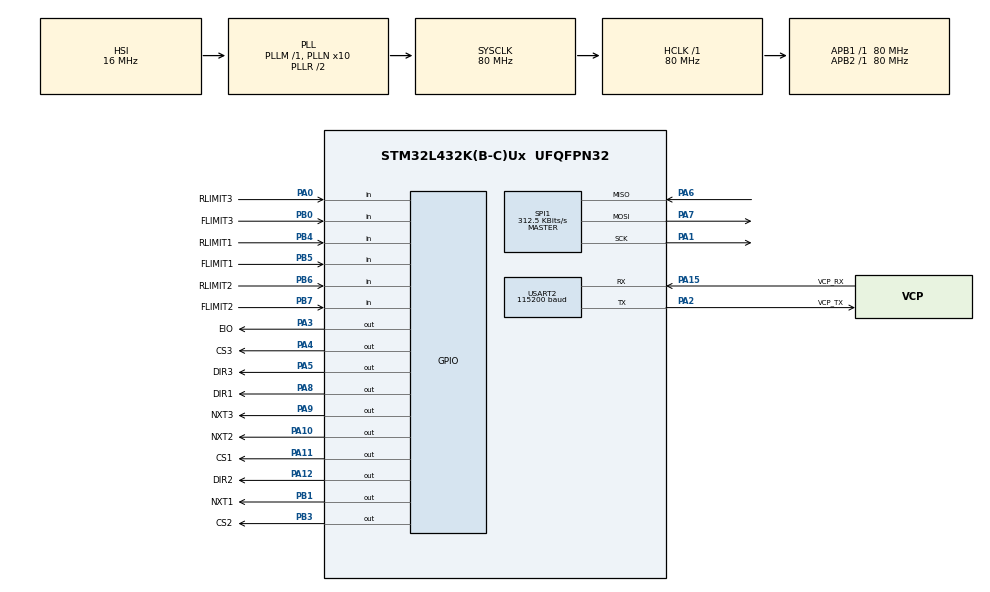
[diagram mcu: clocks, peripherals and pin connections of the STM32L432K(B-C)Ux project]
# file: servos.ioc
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Dma.Request0=USART2_RX
Dma.Request1=USART2_TX
Dma.USART2_RX.0.Direction=DMA_PERIPH_TO_MEMORY
Dma.USART2_RX.0.Instance=DMA1_Channel6
Dma.USART2_RX.0.MemDataAlignment=DMA_MDATAALIGN_BYTE
Dma.USART2_RX.0.MemInc=DMA_MINC_ENABLE
Dma.USART2_RX.0.Mode=DMA_CIRCULAR
Dma.USART2_RX.0.PeriphDataAlignment=DMA_PDATAALIGN_BYTE
Dma.USART2_RX.0.PeriphInc=DMA_PINC_DISABLE
Dma.USART2_RX.0.Priority=DMA_PRIORITY_MEDIUM
Dma.USART2_TX.1.Direction=DMA_MEMORY_TO_PERIPH
Dma.USART2_TX.1.Instance=DMA1_Channel7
Dma.USART2_TX.1.MemDataAlignment=DMA_MDATAALIGN_BYTE
Dma.USART2_TX.1.MemInc=DMA_MINC_ENABLE
Dma.USART2_TX.1.Mode=DMA_NORMAL
Dma.USART2_TX.1.PeriphDataAlignment=DMA_PDATAALIGN_BYTE
Dma.USART2_TX.1.PeriphInc=DMA_PINC_DISABLE
Dma.USART2_TX.1.Priority=DMA_PRIORITY_LOW
Mcu.Family=STM32L4
Mcu.Name=STM32L432K(B-C)Ux
Mcu.Package=UFQFPN32
NVIC.DMA1_Channel6_IRQn=true\:0\:0\:false\:false\:true\:false\:true
NVIC.DMA1_Channel7_IRQn=true\:0\:0\:false\:false\:true\:false\:true
NVIC.PriorityGroup=NVIC_PRIORITYGROUP_3
NVIC.TIM1_UP_TIM16_IRQn=true\:1\:0\:true\:false\:true\:true\:true
NVIC.TIM2_IRQn=true\:5\:0\:true\:false\:true\:true\:true
NVIC.TIM6_DAC_IRQn=true\:2\:0\:true\:false\:true\:true\:true
NVIC.TIM7_IRQn=true\:5\:0\:true\:false\:true\:true\:true
NVIC.USART2_IRQn=true\:3\:0\:true\:false\:true\:true\:true
PA0.GPIO_Label=RLIMIT3
PA0.GPIO_PuPd=GPIO_NOPULL
PA0.Signal=GPIO_Input
PA1.Mode=Full_Duplex_Master
PA1.Signal=SPI1_SCK
PA10.GPIO_Label=NXT2
PA10.GPIO_Speed=GPIO_SPEED_FREQ_LOW
PA10.Signal=GPIO_Output
PA11.GPIO_Label=CS1
PA11.PinState=GPIO_PIN_SET
PA11.Signal=GPIO_Output
PA12.GPIO_Label=DIR2
PA12.Signal=GPIO_Output
PA13\ (JTMS-SWDIO).Mode=Serial_Wire
PA13\ (JTMS-SWDIO).Signal=SYS_JTMS-SWDIO
PA14\ (JTCK-SWCLK).Mode=Serial_Wire
PA14\ (JTCK-SWCLK).Signal=SYS_JTCK-SWCLK
PA15\ (JTDI).GPIO_Label=VCP_RX
PA15\ (JTDI).Mode=Asynchronous
PA15\ (JTDI).Signal=USART2_RX
PA2.GPIO_Label=VCP_TX
PA2.Mode=Asynchronous
PA2.Signal=USART2_TX
PA3.GPIO_Label=EIO
PA3.Signal=GPIO_Output
PA4.GPIO_Label=CS3
PA4.PinState=GPIO_PIN_SET
PA4.Signal=GPIO_Output
PA5.GPIO_Label=DIR3
PA5.Signal=GPIO_Output
PA6.Mode=Full_Duplex_Master
PA6.Signal=SPI1_MISO
PA7.Mode=Full_Duplex_Master
PA7.Signal=SPI1_MOSI
PA8.GPIO_Label=DIR1
PA8.Signal=GPIO_Output
PA9.GPIO_Label=NXT3
PA9.GPIO_Speed=GPIO_SPEED_FREQ_LOW
PA9.Signal=GPIO_Output
PB0.GPIO_Label=FLIMIT3
PB0.Signal=GPIO_Input
PB1.GPIO_Label=NXT1
PB1.GPIO_Speed=GPIO_SPEED_FREQ_LOW
PB1.Signal=GPIO_Output
PB3\ (JTDO-TRACESWO).GPIO_Label=CS2
PB3\ (JTDO-TRACESWO).Signal=GPIO_Output
PB4\ (NJTRST).GPIO_Label=RLIMIT1
PB4\ (NJTRST).GPIO_PuPd=GPIO_NOPULL
PB4\ (NJTRST).Signal=GPIO_Input
PB5.GPIO_Label=FLIMIT1
PB5.GPIO_PuPd=GPIO_NOPULL
PB5.Signal=GPIO_Input
PB6.GPIO_Label=RLIMIT2
PB6.GPIO_PuPd=GPIO_NOPULL
PB6.Signal=GPIO_Input
PB7.GPIO_Label=FLIMIT2
PB7.GPIO_PuPd=GPIO_NOPULL
PB7.Signal=GPIO_Input
PC14-OSC32_IN\ (PC14).Signal=RCC_OSC32_IN
PC15-OSC32_OUT\ (PC15).Signal=RCC_OSC32_OUT
ProjectManager.HeapSize=0x200
ProjectManager.StackSize=0x400
ProjectManager.TargetToolchain=Makefile
RCC.ADCFreq_Value=64000000
RCC.AHBFreq_Value=80000000
RCC.APB1Freq_Value=80000000
RCC.APB1TimFreq_Value=80000000
RCC.APB2Freq_Value=80000000
RCC.APB2TimFreq_Value=80000000
RCC.CortexFreq_Value=80000000
RCC.HCLKFreq_Value=80000000
RCC.HSE_VALUE=8000000
RCC.HSI16_VALUE=16000000
RCC.HSI48_VALUE=48000000
RCC.HSI_VALUE=16000000
RCC.LSE_VALUE=32768
RCC.MSI_VALUE=4000000
RCC.PLLMUL=RCC_PLLMUL_4
RCC.PLLN=10
RCC.PLLSourceVirtual=RCC_PLLSOURCE_HSI
RCC.SYSCLKFreq_VALUE=80000000
RCC.SYSCLKSource=RCC_SYSCLKSOURCE_PLLCLK
RCC.USBFreq_Value=64000000
RCC.VCOOutputFreq_Value=160000000
SPI1.BaudRatePrescaler=SPI_BAUDRATEPRESCALER_256
SPI1.CalculateBaudRate=312.5 KBits/s
SPI1.DataSize=SPI_DATASIZE_8BIT
SPI1.Direction=SPI_DIRECTION_2LINES
SPI1.Mode=SPI_MODE_MASTER
SPI1.VirtualType=VM_MASTER
TIM1.AutoReloadPreload=TIM_AUTORELOAD_PRELOAD_ENABLE
TIM1.Period=212
TIM1.Prescaler=1
TIM2.AutoReloadPreload=TIM_AUTORELOAD_PRELOAD_ENABLE
TIM2.Period=9999
TIM2.Prescaler=79
TIM6.AutoReloadPreload=TIM_AUTORELOAD_PRELOAD_ENABLE
TIM6.Period=199
TIM6.Prescaler=79
TIM6.TIM_MasterOutputTrigger=TIM_TRGO_UPDATE
TIM7.AutoReloadPreload=TIM_AUTORELOAD_PRELOAD_ENABLE
TIM7.Period=299
TIM7.Prescaler=79
TIM7.TIM_MasterOutputTrigger=TIM_TRGO_UPDATE
USART2.AutoBaudRateEnableParam=UART_ADVFEATURE_AUTOBAUDRATE_DISABLE
USART2.BaudRate=115200
USART2.DMADisableonRxErrorParam=ADVFEATURE_DMA_ENABLEONRXERROR
USART2.OverrunDisableParam=ADVFEATURE_OVERRUN_ENABLE
USART2.VirtualMode-Asynchronous=VM_ASYNC
USART2.WordLength=WORDLENGTH_8B
VP_TIM1_VS_ClockSourceINT.Mode=Internal
VP_TIM2_VS_ClockSourceINT.Mode=Internal
VP_TIM6_VS_ClockSourceINT.Mode=Enable_Timer
VP_TIM7_VS_ClockSourceINT.Mode=Enable_Timer
board=NUCLEO-L432KC

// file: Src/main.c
/* USER CODE BEGIN Header */
/**
  ******************************************************************************
  * @file           : main.c
  * @brief          : Main program body
  ******************************************************************************
  ** This notice applies to any and all portions of this file
  * that are not between comment pairs USER CODE BEGIN and
  * USER CODE END. Other portions of this file, whether
  * inserted by the user or by software development tools
  * are owned by their respective copyright owners.
  *
  * COPYRIGHT(c) 2019 STMicroelectronics
  *
  * Redistribution and use in source and binary forms, with or without modification,
  * are permitted provided that the following conditions are met:
  *   1. Redistributions of source code must retain the above copyright notice,
  *      this list of conditions and the following disclaimer.
  *   2. Redistributions in binary form must reproduce the above copyright notice,
  *      this list of conditions and the following disclaimer in the documentation
  *      and/or other materials provided with the distribution.
  *   3. Neither the name of STMicroelectronics nor the names of its contributors
  *      may be used to endorse or promote products derived from this software
  *      without specific prior written permission.
  *
  * THIS SOFTWARE IS PROVIDED BY THE COPYRIGHT HOLDERS AND CONTRIBUTORS "AS IS"
  * AND ANY EXPRESS OR IMPLIED WARRANTIES, INCLUDING, BUT NOT LIMITED TO, THE
  * IMPLIED WARRANTIES OF MERCHANTABILITY AND FITNESS FOR A PARTICULAR PURPOSE ARE
  * DISCLAIMED. IN NO EVENT SHALL THE COPYRIGHT HOLDER OR CONTRIBUTORS BE LIABLE
  * FOR ANY DIRECT, INDIRECT, INCIDENTAL, SPECIAL, EXEMPLARY, OR CONSEQUENTIAL
  * DAMAGES (INCLUDING, BUT NOT LIMITED TO, PROCUREMENT OF SUBSTITUTE GOODS OR
  * SERVICES; LOSS OF USE, DATA, OR PROFITS; OR BUSINESS INTERRUPTION) HOWEVER
  * CAUSED AND ON ANY THEORY OF LIABILITY, WHETHER IN CONTRACT, STRICT LIABILITY,
  * OR TORT (INCLUDING NEGLIGENCE OR OTHERWISE) ARISING IN ANY WAY OUT OF THE USE
  * OF THIS SOFTWARE, EVEN IF ADVISED OF THE POSSIBILITY OF SUCH DAMAGE.
  *
  ******************************************************************************
  */
/* USER CODE END Header */

#include "main.h"

/* USER CODE BEGIN Includes */
#include "usrMain.h"
#include "handles.h"
/* USER CODE END Includes */

SPI_HandleTypeDef hspi1;

TIM_HandleTypeDef htim1;
TIM_HandleTypeDef htim2;
TIM_HandleTypeDef htim6;
TIM_HandleTypeDef htim7;

UART_HandleTypeDef huart2;
DMA_HandleTypeDef hdma_usart2_rx;
DMA_HandleTypeDef hdma_usart2_tx;

/* USER CODE BEGIN PV */
/* Private variables ---------------------------------------------------------*/

uint8_t tx_busy = 0;
uint8_t uart_receive_buffer[10];
//uint8_t uart_buffer[UART_BUFFER_SIZE];
uint32_t uart_count;
uint32_t ticks;
SPI_HandleTypeDef *spi1Handle;
UART_HandleTypeDef *uart2Handle;
/* USER CODE END PV */

void SystemClock_Config(void);
static void MX_GPIO_Init(void);
static void MX_DMA_Init(void);
static void MX_SPI1_Init(void);
static void MX_USART2_UART_Init(void);
static void MX_TIM1_Init(void);
static void MX_TIM2_Init(void);
static void MX_TIM7_Init(void);
static void MX_TIM6_Init(void);
/* USER CODE BEGIN PFP */
/* Private function prototypes -----------------------------------------------*/
void HAL_UART_RxCpltCallback(UART_HandleTypeDef *huart) {
  __HAL_UART_SEND_REQ(huart, UART_RXDATA_FLUSH_REQUEST);
  uart_byte_received(uart_receive_buffer[0]);
}

void HAL_UART_TxCpltCallback(UART_HandleTypeDef *huart) {
  tx_cplt();
}

void HAL_TIM_PeriodElapsedCallback(TIM_HandleTypeDef *htim)
{
  if (htim->Instance == htim1.Instance)
    nxt_tick();
  else if (htim->Instance == htim6.Instance)
    limit_switch_tick(); // TODO: to be triggered by UART Rx interrupt, but with lower priority
  else if (htim->Instance == htim7.Instance)
    uart_analyse_buffer(); // TODO: to be triggered by UART Rx interrupt, but with lower priority
  else if (htim->Instance == htim2.Instance)
    control_tick();
}
/* USER CODE END PFP */

int main(void)
{

  /* MCU Configuration--------------------------------------------------------*/

  /* Reset of all peripherals, Initializes the Flash interface and the Systick. */
  HAL_Init();

  /* Configure the system clock */
  SystemClock_Config();

  /* Initialize all configured peripherals */
  MX_GPIO_Init();
  MX_DMA_Init();
  MX_SPI1_Init();
  MX_USART2_UART_Init();
  MX_TIM1_Init();
  MX_TIM2_Init();
  MX_TIM7_Init();
  MX_TIM6_Init();
  /* USER CODE BEGIN 2 */

  HAL_TIM_Base_Start_IT(&htim6);
  HAL_TIM_Base_Start_IT(&htim7); // other timers are initialised in usrMain() after driver initialisation
  __HAL_SPI_ENABLE(&hspi1);
  HAL_UART_Receive_DMA(&huart2, uart_receive_buffer, 1);

  /* USER CODE END 2 */

  /* Infinite loop */
  /* USER CODE BEGIN WHILE */

  usrMain();

  while (1)
  {

    /* USER CODE END WHILE */

  }
}

void SystemClock_Config(void)
{
  RCC_OscInitTypeDef RCC_OscInitStruct = {0};
  RCC_ClkInitTypeDef RCC_ClkInitStruct = {0};
  RCC_PeriphCLKInitTypeDef PeriphClkInit = {0};

  /**Initializes the CPU, AHB and APB busses clocks
  */
  RCC_OscInitStruct.OscillatorType = RCC_OSCILLATORTYPE_HSI;
  RCC_OscInitStruct.HSIState = RCC_HSI_ON;
  RCC_OscInitStruct.HSICalibrationValue = RCC_HSICALIBRATION_DEFAULT;
  RCC_OscInitStruct.PLL.PLLState = RCC_PLL_ON;
  RCC_OscInitStruct.PLL.PLLSource = RCC_PLLSOURCE_HSI;
  RCC_OscInitStruct.PLL.PLLM = 1;
  RCC_OscInitStruct.PLL.PLLN = 10;
  RCC_OscInitStruct.PLL.PLLP = RCC_PLLP_DIV7;
  RCC_OscInitStruct.PLL.PLLQ = RCC_PLLQ_DIV2;
  RCC_OscInitStruct.PLL.PLLR = RCC_PLLR_DIV2;
  if (HAL_RCC_OscConfig(&RCC_OscInitStruct) != HAL_OK)
  {
    Error_Handler();
  }
  /**Initializes the CPU, AHB and APB busses clocks
  */
  RCC_ClkInitStruct.ClockType = RCC_CLOCKTYPE_HCLK|RCC_CLOCKTYPE_SYSCLK
                              |RCC_CLOCKTYPE_PCLK1|RCC_CLOCKTYPE_PCLK2;
  RCC_ClkInitStruct.SYSCLKSource = RCC_SYSCLKSOURCE_PLLCLK;
  RCC_ClkInitStruct.AHBCLKDivider = RCC_SYSCLK_DIV1;
  RCC_ClkInitStruct.APB1CLKDivider = RCC_HCLK_DIV1;
  RCC_ClkInitStruct.APB2CLKDivider = RCC_HCLK_DIV1;

  if (HAL_RCC_ClockConfig(&RCC_ClkInitStruct, FLASH_LATENCY_4) != HAL_OK)
  {
    Error_Handler();
  }
  PeriphClkInit.PeriphClockSelection = RCC_PERIPHCLK_USART2;
  PeriphClkInit.Usart2ClockSelection = RCC_USART2CLKSOURCE_PCLK1;
  if (HAL_RCCEx_PeriphCLKConfig(&PeriphClkInit) != HAL_OK)
  {
    Error_Handler();
  }
  /**Configure the main internal regulator output voltage
  */
  if (HAL_PWREx_ControlVoltageScaling(PWR_REGULATOR_VOLTAGE_SCALE1) != HAL_OK)
  {
    Error_Handler();
  }
}

static void MX_SPI1_Init(void)
{

  /* SPI1 parameter configuration*/
  hspi1.Instance = SPI1;
  hspi1.Init.Mode = SPI_MODE_MASTER;
  hspi1.Init.Direction = SPI_DIRECTION_2LINES;
  hspi1.Init.DataSize = SPI_DATASIZE_8BIT;
  hspi1.Init.CLKPolarity = SPI_POLARITY_LOW;
  hspi1.Init.CLKPhase = SPI_PHASE_1EDGE;
  hspi1.Init.NSS = SPI_NSS_SOFT;
  hspi1.Init.BaudRatePrescaler = SPI_BAUDRATEPRESCALER_256;
  hspi1.Init.FirstBit = SPI_FIRSTBIT_MSB;
  hspi1.Init.TIMode = SPI_TIMODE_DISABLE;
  hspi1.Init.CRCCalculation = SPI_CRCCALCULATION_DISABLE;
  hspi1.Init.CRCPolynomial = 7;
  hspi1.Init.CRCLength = SPI_CRC_LENGTH_DATASIZE;
  hspi1.Init.NSSPMode = SPI_NSS_PULSE_ENABLE;
  if (HAL_SPI_Init(&hspi1) != HAL_OK)
  {
    Error_Handler();
  }

}

static void MX_TIM1_Init(void)
{

  TIM_ClockConfigTypeDef sClockSourceConfig = {0};
  TIM_MasterConfigTypeDef sMasterConfig = {0};

  htim1.Instance = TIM1;
  htim1.Init.Prescaler = 1;
  htim1.Init.CounterMode = TIM_COUNTERMODE_UP;
  htim1.Init.Period = 212;
  htim1.Init.ClockDivision = TIM_CLOCKDIVISION_DIV1;
  htim1.Init.RepetitionCounter = 0;
  htim1.Init.AutoReloadPreload = TIM_AUTORELOAD_PRELOAD_ENABLE;
  if (HAL_TIM_Base_Init(&htim1) != HAL_OK)
  {
    Error_Handler();
  }
  sClockSourceConfig.ClockSource = TIM_CLOCKSOURCE_INTERNAL;
  if (HAL_TIM_ConfigClockSource(&htim1, &sClockSourceConfig) != HAL_OK)
  {
    Error_Handler();
  }
  sMasterConfig.MasterOutputTrigger = TIM_TRGO_RESET;
  sMasterConfig.MasterOutputTrigger2 = TIM_TRGO2_RESET;
  sMasterConfig.MasterSlaveMode = TIM_MASTERSLAVEMODE_DISABLE;
  if (HAL_TIMEx_MasterConfigSynchronization(&htim1, &sMasterConfig) != HAL_OK)
  {
    Error_Handler();
  }

}

static void MX_TIM2_Init(void)
{

  TIM_ClockConfigTypeDef sClockSourceConfig = {0};
  TIM_MasterConfigTypeDef sMasterConfig = {0};

  htim2.Instance = TIM2;
  htim2.Init.Prescaler = 79;
  htim2.Init.CounterMode = TIM_COUNTERMODE_UP;
  htim2.Init.Period = 9999;
  htim2.Init.ClockDivision = TIM_CLOCKDIVISION_DIV1;
  htim2.Init.AutoReloadPreload = TIM_AUTORELOAD_PRELOAD_ENABLE;
  if (HAL_TIM_Base_Init(&htim2) != HAL_OK)
  {
    Error_Handler();
  }
  sClockSourceConfig.ClockSource = TIM_CLOCKSOURCE_INTERNAL;
  if (HAL_TIM_ConfigClockSource(&htim2, &sClockSourceConfig) != HAL_OK)
  {
    Error_Handler();
  }
  sMasterConfig.MasterOutputTrigger = TIM_TRGO_RESET;
  sMasterConfig.MasterSlaveMode = TIM_MASTERSLAVEMODE_DISABLE;
  if (HAL_TIMEx_MasterConfigSynchronization(&htim2, &sMasterConfig) != HAL_OK)
  {
    Error_Handler();
  }

}

static void MX_TIM6_Init(void)
{

  TIM_MasterConfigTypeDef sMasterConfig = {0};

  htim6.Instance = TIM6;
  htim6.Init.Prescaler = 79;
  htim6.Init.CounterMode = TIM_COUNTERMODE_UP;
  htim6.Init.Period = 199;
  htim6.Init.AutoReloadPreload = TIM_AUTORELOAD_PRELOAD_ENABLE;
  if (HAL_TIM_Base_Init(&htim6) != HAL_OK)
  {
    Error_Handler();
  }
  sMasterConfig.MasterOutputTrigger = TIM_TRGO_UPDATE;
  sMasterConfig.MasterSlaveMode = TIM_MASTERSLAVEMODE_DISABLE;
  if (HAL_TIMEx_MasterConfigSynchronization(&htim6, &sMasterConfig) != HAL_OK)
  {
    Error_Handler();
  }

}

static void MX_TIM7_Init(void)
{

  TIM_MasterConfigTypeDef sMasterConfig = {0};

  htim7.Instance = TIM7;
  htim7.Init.Prescaler = 79;
  htim7.Init.CounterMode = TIM_COUNTERMODE_UP;
  htim7.Init.Period = 299;
  htim7.Init.AutoReloadPreload = TIM_AUTORELOAD_PRELOAD_ENABLE;
  if (HAL_TIM_Base_Init(&htim7) != HAL_OK)
  {
    Error_Handler();
  }
  sMasterConfig.MasterOutputTrigger = TIM_TRGO_UPDATE;
  sMasterConfig.MasterSlaveMode = TIM_MASTERSLAVEMODE_DISABLE;
  if (HAL_TIMEx_MasterConfigSynchronization(&htim7, &sMasterConfig) != HAL_OK)
  {
    Error_Handler();
  }

}

static void MX_USART2_UART_Init(void)
{

  huart2.Instance = USART2;
  huart2.Init.BaudRate = 115200;
  huart2.Init.WordLength = UART_WORDLENGTH_8B;
  huart2.Init.StopBits = UART_STOPBITS_1;
  huart2.Init.Parity = UART_PARITY_NONE;
  huart2.Init.Mode = UART_MODE_TX_RX;
  huart2.Init.HwFlowCtl = UART_HWCONTROL_NONE;
  huart2.Init.OverSampling = UART_OVERSAMPLING_16;
  huart2.Init.OneBitSampling = UART_ONE_BIT_SAMPLE_DISABLE;
  huart2.AdvancedInit.AdvFeatureInit = UART_ADVFEATURE_NO_INIT;
  if (HAL_UART_Init(&huart2) != HAL_OK)
  {
    Error_Handler();
  }

}

static void MX_DMA_Init(void)
{
  /* DMA controller clock enable */
  __HAL_RCC_DMA1_CLK_ENABLE();

  /* DMA interrupt init */
  /* DMA1_Channel6_IRQn interrupt configuration */
  HAL_NVIC_SetPriority(DMA1_Channel6_IRQn, 0, 0);
  HAL_NVIC_EnableIRQ(DMA1_Channel6_IRQn);
  /* DMA1_Channel7_IRQn interrupt configuration */
  HAL_NVIC_SetPriority(DMA1_Channel7_IRQn, 0, 0);
  HAL_NVIC_EnableIRQ(DMA1_Channel7_IRQn);

}

static void MX_GPIO_Init(void)
{
  GPIO_InitTypeDef GPIO_InitStruct = {0};

  /* GPIO Ports Clock Enable */
  __HAL_RCC_GPIOC_CLK_ENABLE();
  __HAL_RCC_GPIOA_CLK_ENABLE();
  __HAL_RCC_GPIOB_CLK_ENABLE();

  /*Configure GPIO pin Output Level */
  HAL_GPIO_WritePin(GPIOA, EIO_Pin|DIR3_Pin|DIR1_Pin|NXT3_Pin
                          |NXT2_Pin|DIR2_Pin, GPIO_PIN_RESET);

  /*Configure GPIO pin Output Level */
  HAL_GPIO_WritePin(GPIOA, CS3_Pin|CS1_Pin, GPIO_PIN_SET);

  /*Configure GPIO pin Output Level */
  HAL_GPIO_WritePin(GPIOB, NXT1_Pin|CS2_Pin, GPIO_PIN_RESET);

  /*Configure GPIO pin : RLIMIT3_Pin */
  GPIO_InitStruct.Pin = RLIMIT3_Pin;
  GPIO_InitStruct.Mode = GPIO_MODE_INPUT;
  GPIO_InitStruct.Pull = GPIO_NOPULL;
  HAL_GPIO_Init(RLIMIT3_GPIO_Port, &GPIO_InitStruct);

  /*Configure GPIO pins : EIO_Pin CS3_Pin DIR3_Pin DIR1_Pin
                           NXT3_Pin NXT2_Pin CS1_Pin DIR2_Pin */
  GPIO_InitStruct.Pin = EIO_Pin|CS3_Pin|DIR3_Pin|DIR1_Pin
                          |NXT3_Pin|NXT2_Pin|CS1_Pin|DIR2_Pin;
  GPIO_InitStruct.Mode = GPIO_MODE_OUTPUT_PP;
  GPIO_InitStruct.Pull = GPIO_NOPULL;
  GPIO_InitStruct.Speed = GPIO_SPEED_FREQ_LOW;
  HAL_GPIO_Init(GPIOA, &GPIO_InitStruct);

  /*Configure GPIO pins : FLIMIT3_Pin RLIMIT1_Pin FLIMIT1_Pin RLIMIT2_Pin
                           FLIMIT2_Pin */
  GPIO_InitStruct.Pin = FLIMIT3_Pin|RLIMIT1_Pin|FLIMIT1_Pin|RLIMIT2_Pin
                          |FLIMIT2_Pin;
  GPIO_InitStruct.Mode = GPIO_MODE_INPUT;
  GPIO_InitStruct.Pull = GPIO_NOPULL;
  HAL_GPIO_Init(GPIOB, &GPIO_InitStruct);

  /*Configure GPIO pins : NXT1_Pin CS2_Pin */
  GPIO_InitStruct.Pin = NXT1_Pin|CS2_Pin;
  GPIO_InitStruct.Mode = GPIO_MODE_OUTPUT_PP;
  GPIO_InitStruct.Pull = GPIO_NOPULL;
  GPIO_InitStruct.Speed = GPIO_SPEED_FREQ_LOW;
  HAL_GPIO_Init(GPIOB, &GPIO_InitStruct);

}

void Error_Handler(void)
{
  while(1)
  {
  }
}

/************************ (C) COPYRIGHT STMicroelectronics *****END OF FILE****/
